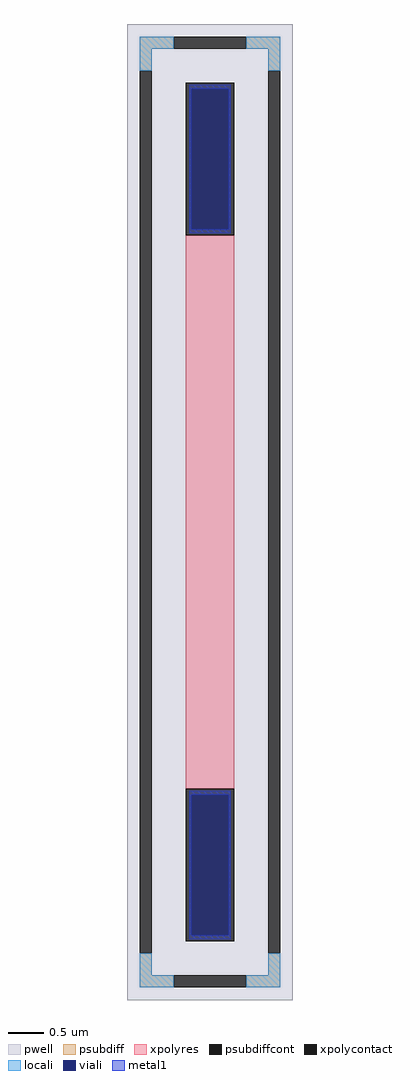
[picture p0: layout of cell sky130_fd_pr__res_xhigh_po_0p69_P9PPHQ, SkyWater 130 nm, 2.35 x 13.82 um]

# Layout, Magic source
magic
tech sky130A
magscale 1 2
<< pwell >>
rect -235 -1382 235 1382
<< psubdiff >>
rect -199 1312 -103 1346
rect 103 1312 199 1346
rect -199 1250 -165 1312
rect 165 1250 199 1312
rect -199 -1312 -165 -1250
rect 165 -1312 199 -1250
rect -199 -1346 -103 -1312
rect 103 -1346 199 -1312
<< psubdiffcont >>
rect -103 1312 103 1346
rect -199 -1250 -165 1250
rect 165 -1250 199 1250
rect -103 -1346 103 -1312
<< xpolycontact >>
rect -69 784 69 1216
rect -69 -1216 69 -784
<< xpolyres >>
rect -69 -784 69 784
<< locali >>
rect -199 1312 -103 1346
rect 103 1312 199 1346
rect -199 1250 -165 1312
rect 165 1250 199 1312
rect -199 -1312 -165 -1250
rect 165 -1312 199 -1250
rect -199 -1346 -103 -1312
rect 103 -1346 199 -1312
<< viali >>
rect -53 801 53 1198
rect -53 -1198 53 -801
<< metal1 >>
rect -59 1198 59 1210
rect -59 801 -53 1198
rect 53 801 59 1198
rect -59 789 59 801
rect -59 -801 59 -789
rect -59 -1198 -53 -801
rect 53 -1198 59 -801
rect -59 -1210 59 -1198
<< properties >>
string FIXED_BBOX -182 -1329 182 1329
string gencell sky130_fd_pr__res_xhigh_po_0p69
string library sky130
string parameters w 0.690 l 8.0 m 1 nx 1 wmin 0.690 lmin 0.50 class resistor rho 2000 val 23.733k dummy 0 dw 0.0 term 188.2 sterm 0.0 caplen 0 wmax 0.690 guard 1 glc 1 grc 1 gtc 1 gbc 1 compatible {sky130_fd_pr__res_xhigh_po_0p35  sky130_fd_pr__res_xhigh_po_0p69 sky130_fd_pr__res_xhigh_po_1p41  sky130_fd_pr__res_xhigh_po_2p85 sky130_fd_pr__res_xhigh_po_5p73} snake 0 full_metal 1 n_guard 0 hv_guard 0 vias 1 viagb 0 viagt 0 viagl 0 viagr 0 mult 1
<< end >>
